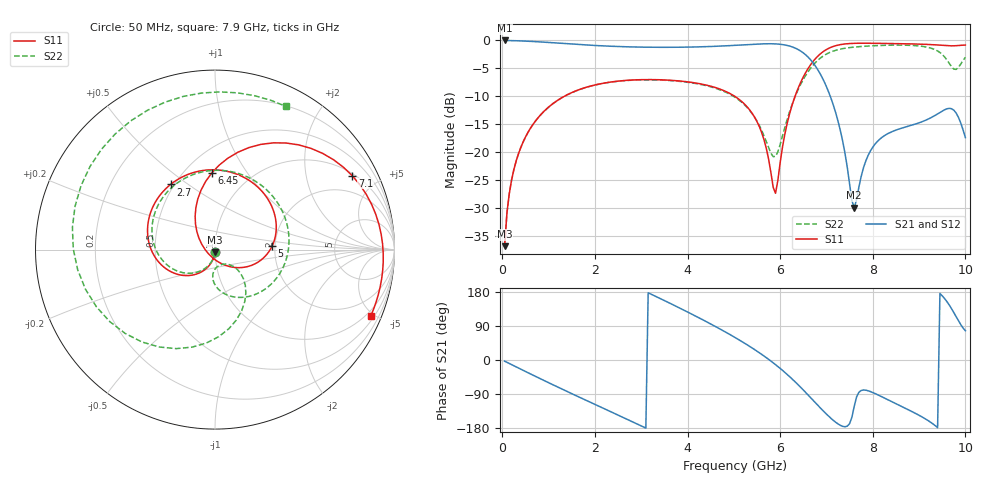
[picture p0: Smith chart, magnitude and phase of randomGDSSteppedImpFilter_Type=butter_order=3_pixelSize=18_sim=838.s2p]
! freq	dB(S11)	phase(S11)	dB(S12)	phase(S12)
!  dB(S21)	phase(S21)	dB(S22)	phase(S22)
!S-par simulation data
#  GHz  S  DB  R 50
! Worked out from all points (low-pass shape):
!   200 points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, 50 MHz to 10 GHz, reference 50 ohm
!   highest |S21| = -0.01 dB at 50 MHz (marker M1); lowest = -30.0 dB at 7.6 GHz (marker M2)
!   |S21| within 3 dB of the highest: start of sweep to 6.605 GHz
!   lowest |S11| = -36.8 dB at 50 MHz (marker M3), VSWR 1.03, Z = 49.9 - j1.43 ohm
!   |S11| at or under -10 dB: start of sweep to 1.341 GHz; 5.017 GHz to 6.322 GHz (1.305 GHz wide, 23 % of centre)
!   |S22| runs from -36.8 to -0.8 dB; largest |S21 - S12| = 0
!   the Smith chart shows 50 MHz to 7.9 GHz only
!   S11 on the Smith chart (normalised r, x): 50 MHz: 1.00, -0.03; 2.7 GHz: 0.48, +0.43; 5 GHz: 1.93, +0.09; 6.45 GHz: 0.67, +0.70; 7.1 GHz: 1.09, +3.66; 7.9 GHz: 0.72, -4.83
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0.05  -36.85 -92.2  -0.01 -3.1  -0.01 -3.1  -36.85 -92.4
0.2  -25.02 -101.7  -0.03 -12.2  -0.03 -12.2  -25.03 -102.9
0.5  -17.32 -119.2  -0.12 -30.3  -0.12 -30.3  -17.33 -122.3
1.75  -8.55 172.5  -0.79 -103.0  -0.79 -103.0  -8.57 160.2
2.7  -7.14 124.3  -1.15 -156.7  -1.15 -156.7  -7.17 101.2
3.4  -7.05 89.3  -1.23 162.8  -1.23 162.8  -7.09 55.7
4.3  -7.81 43.3  -1.14 108.0  -1.14 108.0  -7.91 -6.3
5  -9.91 3.7  -0.89 61.3  -0.89 61.3  -10.06 -57.3
5.05  -10.18 0.6  -0.87 57.7  -0.87 57.7  -10.33 -61.0
5.55  -15.43 -36.6  -0.64 19.2  -0.64 19.2  -15.23 -93.2
5.9  -27.37 -144.3  -0.62 -12.2  -0.62 -12.2  -20.77 -63.4
6.45  -7.39 92.5  -1.94 -72.9  -1.94 -72.9  -7.75 -73.0
6.7  -3.88 66.5  -3.90 -104.9  -3.90 -104.9  -4.54 -111.4
7.1  -1.22 28.3  -10.41 -154.2  -10.41 -154.2  -2.05 179.7
7.6  -0.52 -7.2  -29.97 -122.1  -29.97 -122.1  -1.19 101.6
7.9  -0.50 -22.9  -20.59 -81.2  -20.59 -81.2  -1.01 63.5
8.35  -0.55 -42.2  -16.59 -106.3  -16.59 -106.3  -0.86 16.9
8.9  -0.64 -61.8  -15.03 -139.5  -15.03 -139.5  -0.92 -32.2
9.35  -0.79 -76.0  -13.41 -173.4  -13.41 -173.4  -1.68 -82.5
9.7  -0.97 -85.1  -12.23 135.6  -12.23 135.6  -4.70 -178.4
9.85  -0.91 -88.5  -13.77 103.5  -13.77 103.5  -4.84 103.0
10  -0.83 -92.7  -17.39 77.1  -17.39 77.1  -3.03 44.0
